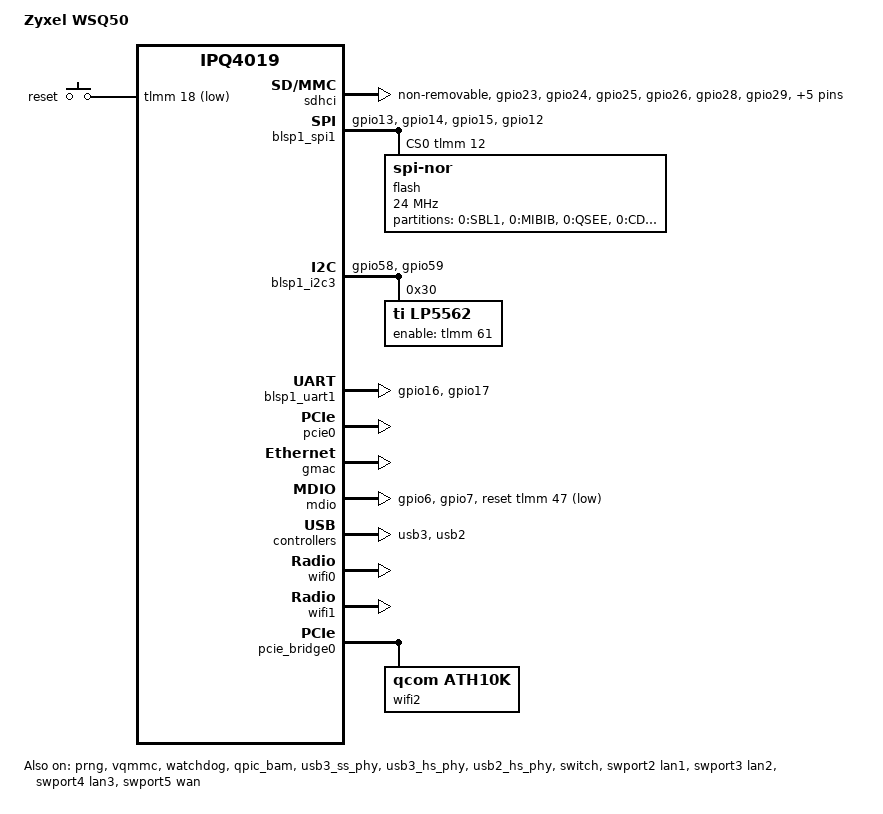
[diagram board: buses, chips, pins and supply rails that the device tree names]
// SPDX-License-Identifier: GPL-2.0-or-later OR MIT

/*
 * Device Tree Source for Zyxel WSQ50
 */

#include "qcom-ipq4019.dtsi"
#include <dt-bindings/gpio/gpio.h>
#include <dt-bindings/input/input.h>
#include <dt-bindings/soc/qcom,tcsr.h>
#include <dt-bindings/leds/common.h>

/ {
	model = "Zyxel WSQ50";
	compatible = "zyxel,wsq50", "qcom,ipq4019";

	aliases {
		led-boot = &led_green;
		led-failsafe = &led_red;
		led-running = &led_green;
		led-upgrade = &led_blue;
		serial0 = &blsp1_uart1;
		ethernet0 = &gmac;
	};

	chosen {
		stdout-path = "serial0:115200n8";
		bootargs-append = " rootfstype=squashfs ro fstools_partname_fallback_scan=1 fstools_overlay_fstype=ext4";
	};

	soc {
		tcsr@1949000 {
			compatible = "qcom,tcsr";
			reg = <0x1949000 0x100>;
			qcom,wifi_glb_cfg = <TCSR_WIFI_GLB_CFG>;
		};

		tcsr@194b000 {
			compatible = "qcom,tcsr";
			reg = <0x194b000 0x100>;
			qcom,usb-hsphy-mode-select = <TCSR_USB_HSPHY_HOST_MODE>;
		};

		ess_tcsr@1953000 {
			compatible = "qcom,tcsr";
			reg = <0x1953000 0x1000>;
			qcom,ess-interface-select = <TCSR_ESS_PSGMII>;
		};

		tcsr@1957000 {
			compatible = "qcom,tcsr";
			reg = <0x1957000 0x100>;
			qcom,wifi_noc_memtype_m0_m2 = <TCSR_WIFI_NOC_MEMTYPE_M0_M2>;
		};
	};

	keys {
		compatible = "gpio-keys";

		reset {
			label = "reset";
			linux,code = <KEY_RESTART>;
			gpios = <&tlmm 18 GPIO_ACTIVE_LOW>;
		};
	};
};

&prng {
	status = "okay";
};

&tlmm {
	status = "okay";

	serial_0_pins: serial0-pinmux {
		pins = "gpio16", "gpio17";
		function = "blsp_uart0";
		bias-disable;
	};

	spi_0_pins: spi-0-state {
		spi0-pins {
			pins = "gpio13", "gpio14", "gpio15";
			function = "blsp_spi0";
			drive-strength = <12>;
			bias-disable;
		};
		spi0-cs-pins {
			pins = "gpio12";
			function = "gpio";
			drive-strength = <2>;
			bias-disable;
			output-high;
		};
	};

	mdio_pins: mdio_pinmux {
		mux_1 {
			pins = "gpio6";
			function = "mdio";
			bias-pull-up;
		};
		mux_2 {
			pins = "gpio7";
			function = "mdc";
			bias-pull-up;
		};
	};

	i2c_0_pins: i2c_0_pinmux {
		pinmux {
			pins = "gpio58", "gpio59";
			function = "blsp_i2c0";
			bias-disable;
		};
	};

	sd_pins: sd_pins {
		mux {
			function = "sdio";
			pins = "gpio23", "gpio24", "gpio25", "gpio26",
				"gpio28", "gpio29", "gpio30", "gpio31";
			drive-strength = <4>;
		};

		mux_sd_clk {
			function = "sdio";
			pins = "gpio27";
			drive-strength = <16>;
		};

		mux_sd7 {
			function = "sdio";
			pins = "gpio32";
			drive-strength = <4>;
			bias-disable;
		};
	};
};

&vqmmc {
	status = "okay";
};

&sdhci {
	status = "okay";
	pinctrl-0 = <&sd_pins>;
	pinctrl-names = "default";
	vqmmc-supply = <&vqmmc>;
	non-removable;
	cd-gpios = <&tlmm 22 GPIO_ACTIVE_LOW>;
	sd-ldo-gpios = <&tlmm 33 GPIO_ACTIVE_LOW>;
};

&blsp_dma {
	status = "okay";
};

&blsp1_spi1 {
	pinctrl-0 = <&spi_0_pins>;
	pinctrl-names = "default";
	status = "okay";
	cs-gpios = <&tlmm 12 GPIO_ACTIVE_HIGH>;

	flash@0 {
		#address-cells = <1>;
		#size-cells = <1>;
		reg = <0>;
		compatible = "jedec,spi-nor", "n25q128a11";
		spi-max-frequency = <24000000>;
		status = "okay";
		m25p,fast-read;

		partitions {
			compatible = "fixed-partitions";
			#address-cells = <1>;
			#size-cells = <1>;

			partition0@0 {
				label = "0:SBL1";
				reg = <0x00000000 0x00040000>;
				read-only;
			};
			partition1@40000 {
				label = "0:MIBIB";
				reg = <0x00040000 0x00020000>;
				read-only;
			};
			partition2@60000 {
				label = "0:QSEE";
				reg = <0x00060000 0x00060000>;
				read-only;
			};
			partition3@c0000 {
				label = "0:CDT";
				reg = <0x000c0000 0x00010000>;
				read-only;
			};
			partition4@d0000 {
				label = "0:DDRPARAMS";
				reg = <0x000d0000 0x00010000>;
				read-only;
			};
			partition5@e0000 {
				label = "0:APPSBL"; /* u-boot */
				reg = <0x000e0000 0x00080000>;
				read-only;
			};
			partition6@160000 {
				label = "0:APPSBLENV"; /* u-boot env */
				reg = <0x00160000 0x00010000>;
			};
			partition7@170000 {
				/* make a backup of this partition! */
				label = "0:ART";
				reg = <0x00170000 0x00010000>;
				read-only;
			};
			partition8@180000 {
				label = "0:DUAL_FLAG";
				reg = <0x00180000 0x00010000>;
			};
			partition9@190000 {
				label = "0:CRT";
				reg = <0x00190000 0x00010000>;
				read-only;
			};
			partition10@1a0000 {
				label = "0:RESERVED";
				reg = <0x001a0000 0x00260000>;
				read-only;
			};
		};
	};
};

&blsp1_i2c3 {
	pinctrl-0 = <&i2c_0_pins>;
	pinctrl-names = "default";
	status = "okay";

	lp5562@30 {
		compatible = "ti,lp5562";
		reg = <0x30>;
		clock-mode = /bits/ 8 <1>;
		status = "okay";
		enable-gpios = <&tlmm 61 GPIO_ACTIVE_HIGH>;
		#address-cells = <1>;
		#size-cells = <0>;

		led_red: led@0 {
			reg = <0>;
			color = <LED_COLOR_ID_RED>;
			function = LED_FUNCTION_STATUS;
			chan-name = "red:status";
			led-cur = /bits/ 8 <0xDF>;
			max-cur = /bits/ 8 <0xFF>;
		};

		led_green: led@1 {
			reg = <1>;
			color = <LED_COLOR_ID_GREEN>;
			function = LED_FUNCTION_STATUS;
			chan-name = "green:status";
			led-cur = /bits/ 8 <0x5F>;
			max-cur = /bits/ 8 <0xFF>;
		};

		led_blue: led@2 {
			reg = <2>;
			color = <LED_COLOR_ID_BLUE>;
			function = LED_FUNCTION_STATUS;
			chan-name = "blue:status";
			led-cur = /bits/ 8 <0x5F>;
			max-cur = /bits/ 8 <0xFF>;
		};
	};
};

&blsp1_uart1 {
	status = "okay";
	pinctrl-0 = <&serial_0_pins>;
	pinctrl-names = "default";
};

&watchdog {
	status = "okay";
};

&pcie0 {
	status = "okay";

	perst-gpios = <&tlmm 38 GPIO_ACTIVE_LOW>;
	wake-gpios = <&tlmm 50 GPIO_ACTIVE_LOW>;
};

&qpic_bam {
	status = "okay";
};

&gmac {
	status = "okay";
};

&mdio {
	status = "okay";
	pinctrl-0 = <&mdio_pins>;
	pinctrl-names = "default";
	reset-gpios = <&tlmm 47 GPIO_ACTIVE_LOW>;
	reset-delay-us = <2000>;
	reset-post-delay-us = <5000>;
};

&usb3_ss_phy {
	status = "okay";
};

&usb3_hs_phy {
	status = "okay";
};

&usb3 {
	status = "okay";
};

&usb3_dwc {
	#address-cells = <1>;
	#size-cells = <0>;

	usb3_port1: port@1 {
		reg = <1>;
		#trigger-source-cells = <0>;
	};

	usb3_port2: port@2 {
		reg = <2>;
		#trigger-source-cells = <0>;
	};
};

&usb2_hs_phy {
	status = "okay";
};

&usb2 {
	status = "okay";

	usb@6000000 {
		#address-cells = <1>;
		#size-cells = <0>;

		usb2_port1: port@1 {
			reg = <1>;
			#trigger-source-cells = <0>;
		};
	};
};

&switch {
	status = "okay";
};

&swport2 {
	status = "okay";
	label = "lan1";
};

&swport3 {
	status = "okay";
	label = "lan2";
};

&swport4 {
	status = "okay";
	label = "lan3";
};

&swport5 {
	status = "okay";
	label = "wan";
};

&wifi0 {
	qcom,ath10k-calibration-variant = "Zyxel-WSQ50";
	status = "okay";
};

&wifi1 {
	ieee80211-freq-limit = <5170000 5330000>;
	qcom,ath10k-calibration-variant = "Zyxel-WSQ50";
	status = "okay";
};

&pcie_bridge0 {
	wifi2: wifi@0,0 {
		compatible = "qcom,ath10k";
		reg = <0x00010000 0 0 0 0>;
		ieee80211-freq-limit = <5490000 5835000>;
		qcom,ath10k-calibration-variant = "Zyxel-WSQ50";
		status = "okay";
	};
};
